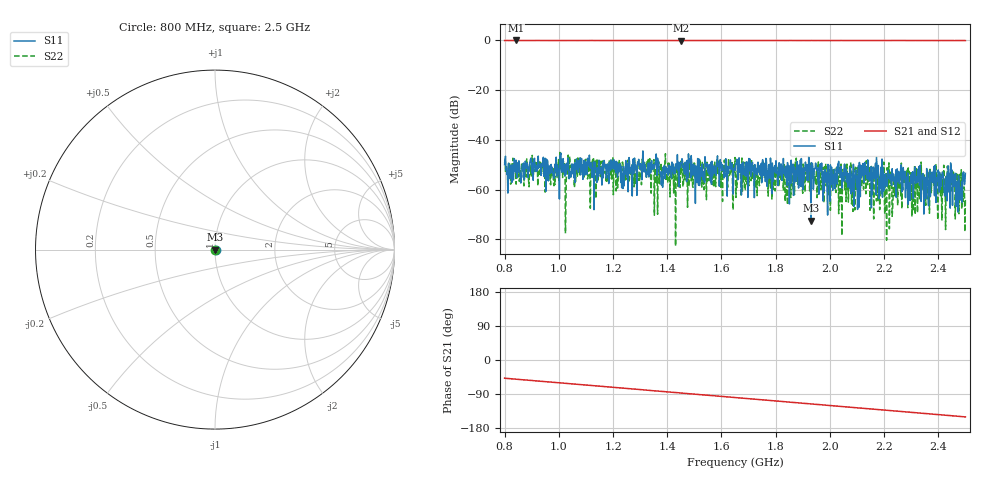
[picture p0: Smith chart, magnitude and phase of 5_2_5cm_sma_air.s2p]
!Keysight Technologies N9950B: A.12.38
!Date: Tuesday, 02 May 2023 21:26:36
!Timezone: (UTC-06:00) Central Time (US & Canada)
!Model: N9950B
!Serial: MY61131330
!GPS Latitude:
!GPS Longitude:
!GPS TimeStamp: 0001-01-01 00:00:00Z
!GPS Seconds Since Last Read: 0
!CHECKSUM:2026530617
!Correction: S11(ON U)S21(ON U)S12(ON U)S22(ON U)
!S2P File: Measurements:S11,S21,S12,S22:
# Hz S DB R 50
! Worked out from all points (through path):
!   1001 points, 800 MHz to 2.5 GHz, reference 50 ohm
!   highest |S21| = 0.01 dB at 840.8 MHz (marker M1); lowest = -0.1 dB at 1.451 GHz (marker M2)
!   group delay of S21, straight-line fit = 167 ps
!   lowest |S11| = -72.5 dB at 1.931 GHz (marker M3), VSWR 1.00, Z = 50 - j0.0191 ohm
!   |S11| at or under -10 dB: start of sweep to end of sweep
!   |S22| runs from -82.8 to -45.1 dB; largest |S21 - S12| = 0.0051
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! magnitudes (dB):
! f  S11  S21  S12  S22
! 800 MHz  -50.0  0.0  0.0  -49.4
! 840.8 MHz  -53.0  0.0  0.0  -51.5
! 976.8 MHz  -53.3  0.0  0.0  -53.7
! 1.011 GHz  -53.0  0.0  0.0  -53.1
! 1.03 GHz  -50.9  0.0  0.0  -52.2
! 1.084 GHz  -47.5  0.0  0.0  -51.9
! 1.206 GHz  -48.9  0.0  0.0  -48.6
! 1.237 GHz  -59.6  0.0  0.0  -50.0
! 1.368 GHz  -48.6  0.0  0.0  -49.6
! 1.451 GHz  -49.0  -0.1  0.0  -52.3
! 1.65 GHz  -52.3  0.0  0.0  -47.1
! 1.757 GHz  -54.3  0.0  0.0  -54.1
! 1.835 GHz  -51.5  0.0  0.0  -64.8
! 1.931 GHz  -72.5  0.0  0.0  -52.2
! 1.934 GHz  -50.3  0.0  0.0  -50.2
! 2.055 GHz  -49.7  0.0  0.0  -60.0
! 2.089 GHz  -66.7  0.0  0.0  -59.9
! 2.138 GHz  -55.8  0.0  0.0  -53.3
! 2.218 GHz  -55.4  0.0  0.0  -49.3
! 2.384 GHz  -50.6  0.0  0.0  -58.7
! 2.474 GHz  -54.4  0.0  0.0  -58.7
! 2.5 GHz  -53.5  0.0  0.0  -63.8
